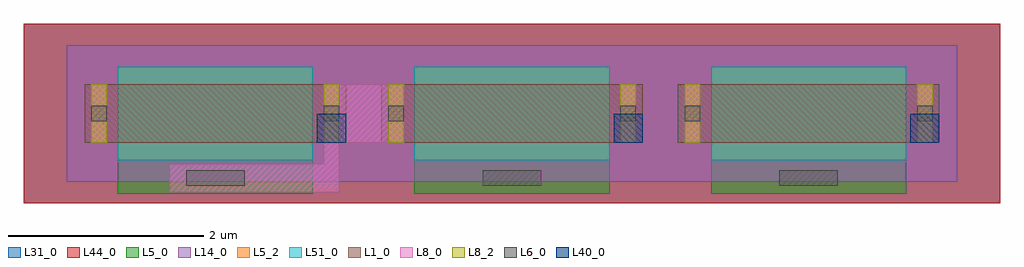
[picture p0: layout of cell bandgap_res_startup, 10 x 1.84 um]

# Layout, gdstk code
import gdstk
lib = gdstk.Library(unit=1e-6, precision=1e-09)
def R(c, l, rs):  # rectangles x0, y0, x1, y1
    for r in rs: c.add(gdstk.rectangle(r[:2], r[2:], *l))
def A(c, l, x, y, w, h, nx, ny, dx, dy):  # array of equal rectangles
    R(c, l, [(x+i*dx, y+j*dy, x+i*dx+w, y+j*dy+h) for i in range(nx) for j in range(ny)])
L1_0 = (1, 0)
L5_0 = (5, 0)
L5_2 = (5, 2)
L6_0 = (6, 0)
L8_0 = (8, 0)
L8_2 = (8, 2)
L14_0 = (14, 0)
L31_0 = (31, 0)
L40_0 = (40, 0)
L44_0 = (44, 0)
L51_0 = (51, 0)

pmoshv_6 = lib.new_cell('pmosHV$6')
R(pmoshv_6, L1_0, [(0,0,0.3,0.3), (0,0,2.68,0.6), (2.38,0,2.68,0.3)])
R(pmoshv_6, L5_0, [(0.34,-0.18,2.34,0.78)])
R(pmoshv_6, L5_2, [(0.34,-0.18,2.34,0.78)])
R(pmoshv_6, L6_0, [(0.07,0.22,0.23,0.38), (2.45,0.22,2.61,0.38)])
R(pmoshv_6, L8_0, [(0.07,0,0.23,0.6), (2.45,0,2.61,0.6)])
R(pmoshv_6, L8_2, [(0.07,0,0.23,0.6), (2.45,0,2.61,0.6)])
R(pmoshv_6, L14_0, [(-0.18,-0.4,2.86,1)])
R(pmoshv_6, L31_0, [(-0.62,-0.62,3.3,1.22)])
R(pmoshv_6, L40_0, [(2.38,0,2.68,0.3)])
R(pmoshv_6, L44_0, [(-0.62,-0.62,3.3,1.22)])
R(pmoshv_6, L51_0, [(0.34,-0.18,2.34,0.78)])
pmoshv_6.add(gdstk.Label('pmosHV', (1.34,0.3), layer=63, texttype=0))
pmoshv_6.add(gdstk.Label('pmos', (1.34,0.3), layer=51, texttype=0))

bandgap_res_startup = lib.new_cell('bandgap_res_startup')
A(bandgap_res_startup, L6_0, 1.95, 0.6, 0.6, 0.16, 3, 1, 3.04, 0)
bandgap_res_startup.add(gdstk.FlexPath([(2.25,1.82),(2.25,0.52)], 2, ends="flush", simple_path=True, layer=5, datatype=0))  # L5_0
bandgap_res_startup.add(gdstk.FlexPath([(5.29,1.82),(5.29,0.52)], 2, ends="flush", simple_path=True, layer=5, datatype=0))  # L5_0
bandgap_res_startup.add(gdstk.FlexPath([(8.33,1.82),(8.33,0.52)], 2, ends="flush", simple_path=True, layer=5, datatype=0))  # L5_0
bandgap_res_startup.add(gdstk.FlexPath([(3.36,1.34),(4.18,1.34)], 0.6, ends="flush", simple_path=True, layer=8, datatype=0))  # L8_0
bandgap_res_startup.add(gdstk.FlexPath([(1.78,0.68),(3.52,0.68)], 0.29, ends="flush", simple_path=True, layer=8, datatype=0))  # L8_0
bandgap_res_startup.add(gdstk.FlexPath([(3.44,1.64),(3.44,0.58)], 0.16, ends="flush", simple_path=True, layer=8, datatype=0))  # L8_0
bandgap_res_startup.add(gdstk.Reference(pmoshv_6, (0.91,1.04)))
bandgap_res_startup.add(gdstk.Reference(pmoshv_6, (3.95,1.04)))
bandgap_res_startup.add(gdstk.Reference(pmoshv_6, (6.99,1.04)))

lib.write_gds('bandgap_res_startup.gds')
